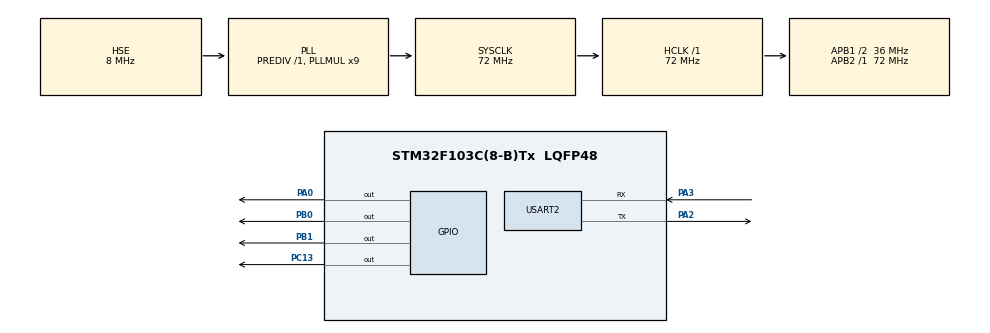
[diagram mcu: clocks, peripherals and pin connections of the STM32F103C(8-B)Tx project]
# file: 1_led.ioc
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Mcu.Family=STM32F1
Mcu.Name=STM32F103C(8-B)Tx
Mcu.Package=LQFP48
NVIC.PriorityGroup=NVIC_PRIORITYGROUP_4
NVIC.USART2_IRQn=true\:0\:0\:false\:false\:true\:true\:true\:true
PA0-WKUP.Signal=GPIO_Output
PA13.Mode=Serial_Wire
PA13.Signal=SYS_JTMS-SWDIO
PA14.Mode=Serial_Wire
PA14.Signal=SYS_JTCK-SWCLK
PA2.Mode=Asynchronous
PA2.Signal=USART2_TX
PA3.Mode=Asynchronous
PA3.Signal=USART2_RX
PB0.Signal=GPIO_Output
PB1.Signal=GPIO_Output
PC13-TAMPER-RTC.GPIO_PuPd=GPIO_PULLUP
PC13-TAMPER-RTC.Signal=GPIO_Output
PD0-OSC_IN.Mode=HSE-External-Oscillator
PD0-OSC_IN.Signal=RCC_OSC_IN
PD1-OSC_OUT.Mode=HSE-External-Oscillator
PD1-OSC_OUT.Signal=RCC_OSC_OUT
ProjectManager.HeapSize=0x200
ProjectManager.StackSize=0x400
ProjectManager.TargetToolchain=CMake
RCC.AHBFreq_Value=72000000
RCC.APB1CLKDivider=RCC_HCLK_DIV2
RCC.APB1Freq_Value=36000000
RCC.APB1TimFreq_Value=72000000
RCC.APB2Freq_Value=72000000
RCC.APB2TimFreq_Value=72000000
RCC.HCLKFreq_Value=72000000
RCC.PLLMUL=RCC_PLL_MUL9
RCC.PLLSourceVirtual=RCC_PLLSOURCE_HSE
RCC.SYSCLKFreq_VALUE=72000000
RCC.SYSCLKSource=RCC_SYSCLKSOURCE_PLLCLK
RCC.USBFreq_Value=72000000
TIM2.Prescaler=71
USART2.VirtualMode=VM_ASYNC
VP_TIM2_VS_ClockSourceINT.Mode=Internal
board=custom

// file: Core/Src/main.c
/* USER CODE BEGIN Header */
/**
  ******************************************************************************
  * @file           : main.c
  * @brief          : Main program body
  ******************************************************************************
  */
/* USER CODE END Header */
#include "main.h"
#include "tim.h"
#include "usart.h"
#include "gpio.h"

/* USER CODE BEGIN Includes */
#include "led.h"
#include <stdio.h>
#include "u8g2_hal.h"
#include "dht11.h"
#include "esp8266.h"
/* USER CODE END Includes */

/* USER CODE BEGIN PV */
u8g2_t u8g2;
DHT11_Data_t dht11_data;
uint32_t lastUpload = 0;
/* USER CODE END PV */

void SystemClock_Config(void);

/* USER CODE BEGIN 0 */
static void u8g2_DrawUint8(u8g2_t *u8g2, u8g2_uint_t x, u8g2_uint_t y, uint8_t val)
{
    char buf[4];
    sprintf(buf, "%d", val);
    u8g2_DrawStr(u8g2, x, y, buf);
}

static void oled_refresh(u8g2_t *u8g2, DHT11_Data_t *data, uint8_t led_status)
{
    char temp_buf[4];
    char humi_buf[4];
    sprintf(temp_buf, "%d", data->temperature);
    sprintf(humi_buf, "%d", data->humidity);

    u8g2_ClearBuffer(u8g2);
    u8g2_SetFont(u8g2, u8g2_font_ncenB08_tr);
    u8g2_DrawStr(u8g2, 4,  14, "Temp:");
    u8g2_DrawStr(u8g2, 40, 14, temp_buf);
    u8g2_DrawStr(u8g2, 64, 14, "C");
    u8g2_DrawStr(u8g2, 4,  34, "Humi:");
    u8g2_DrawStr(u8g2, 40, 34, humi_buf);
    u8g2_DrawStr(u8g2, 64, 34, "%");
    u8g2_DrawStr(u8g2, 4,  54, "LED:");
    u8g2_DrawStr(u8g2, 32, 54, led_status ? "ON " : "OFF");
    u8g2_SendBuffer(u8g2);
}
/* USER CODE END 0 */

int main(void)
{

  HAL_Init();

  SystemClock_Config();

  MX_GPIO_Init();
  MX_TIM2_Init();
  MX_USART2_UART_Init();

  /* USER CODE BEGIN 2 */
  Led_Init();
  __HAL_UART_ENABLE_IT(&huart2, UART_IT_RXNE);

  // 初始化OLED
  u8g2_Init(&u8g2);
  u8g2_ClearBuffer(&u8g2);
  u8g2_SetFont(&u8g2, u8g2_font_ncenB08_tr);
  u8g2_DrawStr(&u8g2, 4, 14, "Initializing...");
  u8g2_SendBuffer(&u8g2);

  // 初始化ESP8266
  u8g2_ClearBuffer(&u8g2);
  u8g2_SetFont(&u8g2, u8g2_font_ncenB08_tr);
  u8g2_DrawStr(&u8g2, 4, 14, "Connecting WiFi");
  u8g2_SendBuffer(&u8g2);
  while(ESP8266_Init()) {
    u8g2_ClearBuffer(&u8g2);
    u8g2_SetFont(&u8g2, u8g2_font_ncenB08_tr);
    u8g2_DrawStr(&u8g2, 4, 14, "WiFi Fail,Retry");
    u8g2_SendBuffer(&u8g2);
    HAL_Delay(3000);
  }

  // 连接MQTT
  u8g2_ClearBuffer(&u8g2);
  u8g2_SetFont(&u8g2, u8g2_font_ncenB08_tr);
  u8g2_DrawStr(&u8g2, 4, 14, "MQTT Connecting");
  u8g2_SendBuffer(&u8g2);
  uint8_t mqttErr;
  while((mqttErr = ESP8266_MQTTConnect()) != 0) {
    u8g2_ClearBuffer(&u8g2);
    u8g2_SetFont(&u8g2, u8g2_font_ncenB08_tr);
    u8g2_DrawStr(&u8g2,  4, 14, "MQTT Fail,Retry");
    u8g2_DrawStr(&u8g2,  4, 28, "ErrCode:");
    u8g2_DrawUint8(&u8g2, 68, 28, mqttErr);
    u8g2_SendBuffer(&u8g2);
    HAL_Delay(5000);
  }

  u8g2_ClearBuffer(&u8g2);
  u8g2_SetFont(&u8g2, u8g2_font_ncenB08_tr);
  u8g2_DrawStr(&u8g2, 4, 14, "Hardware Init OK");
  u8g2_SendBuffer(&u8g2);
  HAL_Delay(1500);

  DHT11_Read(&dht11_data);
  /* USER CODE END 2 */

  while (1)
  {
    /* USER CODE BEGIN 3 */

    if(HAL_GetTick() - lastUpload > 5000) {
      lastUpload = HAL_GetTick();

      uint8_t ret = DHT11_Read(&dht11_data);
      if(ret == 0) {
        oled_refresh(&u8g2, &dht11_data, Led_Status);
        ESP8266_PublishData(dht11_data.temperature, dht11_data.humidity);
      } else {
        u8g2_ClearBuffer(&u8g2);
        u8g2_SetFont(&u8g2, u8g2_font_ncenB08_tr);
        u8g2_DrawStr(&u8g2,  4, 14, "DHT11 Err:");
        u8g2_DrawUint8(&u8g2, 68, 14, ret);
        u8g2_DrawStr(&u8g2,  4, 34, "Retrying...");
        u8g2_SendBuffer(&u8g2);
      }
    }

    uint8_t newLed;
    if(ESP8266_CheckLEDCmd(&newLed)) {
      Led_Set(newLed);
      oled_refresh(&u8g2, &dht11_data, Led_Status);
    }

  }
  /* USER CODE END 3 */
}

void SystemClock_Config(void)
{
  RCC_OscInitTypeDef RCC_OscInitStruct = {0};
  RCC_ClkInitTypeDef RCC_ClkInitStruct = {0};

  /** Initializes the RCC Oscillators according to the specified parameters
  * in the RCC_OscInitTypeDef structure.
  */
  RCC_OscInitStruct.OscillatorType = RCC_OSCILLATORTYPE_HSE;
  RCC_OscInitStruct.HSEState = RCC_HSE_ON;
  RCC_OscInitStruct.HSEPredivValue = RCC_HSE_PREDIV_DIV1;
  RCC_OscInitStruct.HSIState = RCC_HSI_ON;
  RCC_OscInitStruct.PLL.PLLState = RCC_PLL_ON;
  RCC_OscInitStruct.PLL.PLLSource = RCC_PLLSOURCE_HSE;
  RCC_OscInitStruct.PLL.PLLMUL = RCC_PLL_MUL9;
  if (HAL_RCC_OscConfig(&RCC_OscInitStruct) != HAL_OK)
  {
    Error_Handler();
  }

  /** Initializes the CPU, AHB and APB buses clocks
  */
  RCC_ClkInitStruct.ClockType = RCC_CLOCKTYPE_HCLK|RCC_CLOCKTYPE_SYSCLK
                              |RCC_CLOCKTYPE_PCLK1|RCC_CLOCKTYPE_PCLK2;
  RCC_ClkInitStruct.SYSCLKSource = RCC_SYSCLKSOURCE_PLLCLK;
  RCC_ClkInitStruct.AHBCLKDivider = RCC_SYSCLK_DIV1;
  RCC_ClkInitStruct.APB1CLKDivider = RCC_HCLK_DIV2;
  RCC_ClkInitStruct.APB2CLKDivider = RCC_HCLK_DIV1;

  if (HAL_RCC_ClockConfig(&RCC_ClkInitStruct, FLASH_LATENCY_2) != HAL_OK)
  {
    Error_Handler();
  }
}

void Error_Handler(void)
{
  __disable_irq();
  while (1)
  {
  }
}
